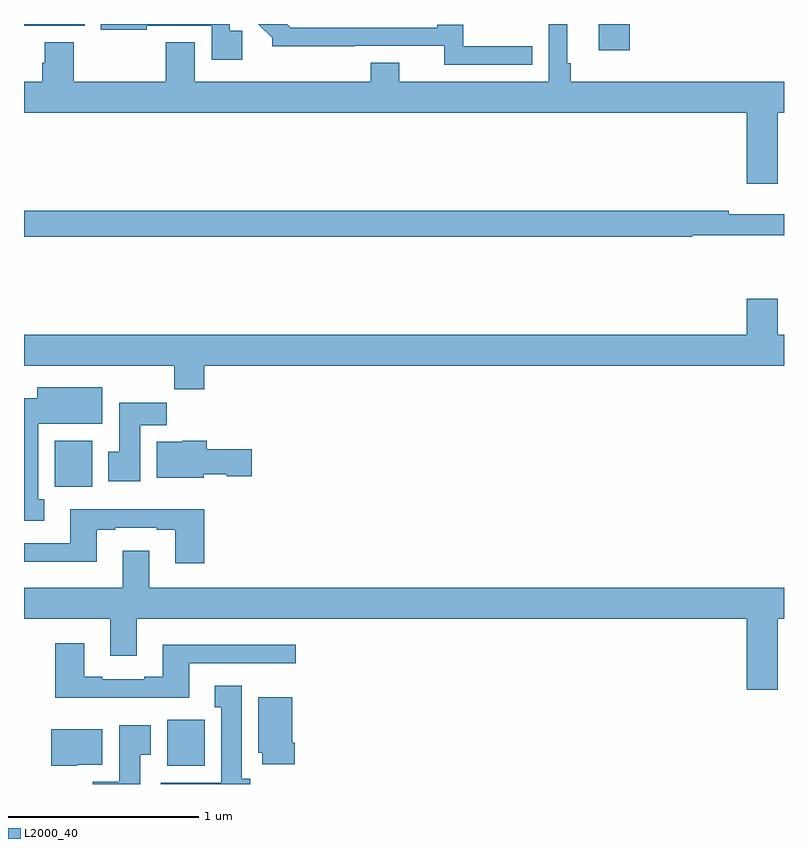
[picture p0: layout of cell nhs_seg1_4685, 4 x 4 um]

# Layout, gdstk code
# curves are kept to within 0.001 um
import gdstk
lib = gdstk.Library(unit=1e-6, precision=1e-09)
def R(c, l, rs):  # rectangles x0, y0, x1, y1
    for r in rs: c.add(gdstk.rectangle(r[:2], r[2:], *l))
def P(c, l, *ps):  # polygons
    for p in ps: c.add(gdstk.Polygon(p, *l))
L2000_40 = (2000, 40)

nhs_seg1_4685 = lib.new_cell('nhs_seg1_4685')
R(nhs_seg1_4685, L2000_40, [(365.753,548.294,365.95,548.536), (365.162,549.764,365.359,550.006), (368.024,552.06,368.188,552.199), (365,552.189,365.319,552.199)])
P(nhs_seg1_4685, L2000_40, [(368.968,551.732),(369,551.732),(369,551.896),(367.877,551.896),(367.877,551.992),(367.858,551.992),(367.858,552.199),(367.761,552.199),(367.761,551.896),(366.976,551.896),(366.976,551.995),(366.824,551.995),(366.824,551.896),(365.899,551.896),(365.899,552.104),(365.747,552.104),(365.747,551.896),(365.261,551.896),(365.261,552.104),(365.108,552.104),(365.108,551.994),(365.096,551.994),(365.096,551.896),(365,551.896),(365,551.732),(368.804,551.732),(368.804,551.358),(368.968,551.358)],
  [(366.149,552.163),(366.084,552.163),(366.084,552.199),(365.404,552.199),(365.404,552.17),(365.647,552.17),(365.647,552.189),(365.988,552.189),(365.988,552.012),(366.149,552.012)],
  [(367.676,552.081),(367.312,552.081),(367.312,552.196),(367.176,552.196),(367.176,552.18),(366.405,552.18),(366.386,552.199),(366.234,552.199),(366.306,552.127),(366.306,552.083),(367.213,552.084),(367.213,551.985),(367.676,551.985)],
  [(368.518,551.088),(369,551.088),(369,551.197),(368.708,551.197),(368.708,551.216),(365,551.216),(365,551.08),(368.518,551.08)],
  [(365.948,550.4),(369,550.4),(369,550.564),(368.968,550.564),(368.968,550.753),(368.804,550.753),(368.804,550.564),(365,550.564),(365,550.4),(365.791,550.4),(365.791,550.276),(365.948,550.276)],
  [(365.107,549.698),(365.074,549.698),(365.074,550.094),(365.413,550.094),(365.413,550.288),(365.069,550.288),(365.069,550.228),(365,550.228),(365,549.585),(365.107,549.585)],
  [(365.611,550.088),(365.75,550.088),(365.75,550.206),(365.501,550.206),(365.501,549.948),(365.444,549.948),(365.444,549.792),(365.611,549.792)],
  [(365.946,549.83),(366.066,549.83),(366.066,549.818),(366.199,549.818),(366.199,549.96),(365.963,549.96),(365.963,550.006),(365.832,550.006),(365.832,550),(365.699,550),(365.699,549.812),(365.946,549.812)],
  [(365.948,549.646),(365.243,549.646),(365.243,549.465),(365,549.465),(365,549.368),(365.383,549.368),(365.383,549.537),(365.479,549.537),(365.479,549.549),(365.699,549.549),(365.699,549.537),(365.795,549.537),(365.795,549.36),(365.948,549.36)],
  [(368.968,549.068),(369,549.068),(369,549.232),(365.659,549.232),(365.659,549.427),(365.519,549.427),(365.519,549.232),(365,549.232),(365,549.068),(365.453,549.068),(365.453,548.874),(365.593,548.874),(365.593,549.068),(368.804,549.068),(368.804,548.694),(368.968,548.694)],
  [(365.869,548.835),(366.43,548.835),(366.43,548.932),(365.729,548.932),(365.729,548.764),(365.633,548.764),(365.633,548.751),(365.413,548.751),(365.413,548.764),(365.317,548.764),(365.317,548.941),(365.165,548.941),(365.165,548.654),(365.869,548.654)],
  [(366.19,548.226),(366.145,548.226),(366.145,548.716),(366.005,548.716),(366.005,548.603),(366.038,548.603),(366.038,548.206),(365.721,548.206),(365.721,548.199),(366.19,548.199)],
  [(366.425,548.416),(366.412,548.416),(366.412,548.656),(366.233,548.656),(366.233,548.364),(366.254,548.364),(366.254,548.304),(366.425,548.304)],
  [(365.611,548.353),(365.668,548.353),(365.668,548.509),(365.501,548.509),(365.501,548.212),(365.362,548.212),(365.362,548.199),(365.611,548.199)],
  [(365.28,548.3),(365.413,548.3),(365.413,548.488),(365.144,548.488),(365.144,548.294),(365.28,548.294)])

lib.write_gds('nhs_seg1_4685.gds')
